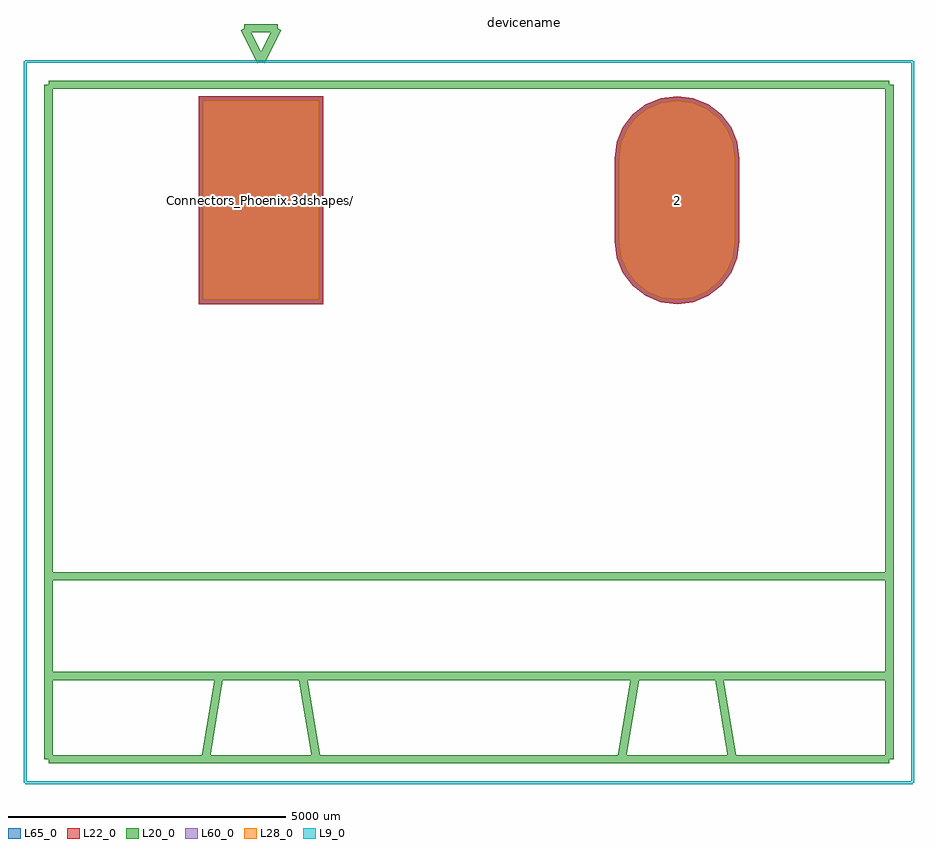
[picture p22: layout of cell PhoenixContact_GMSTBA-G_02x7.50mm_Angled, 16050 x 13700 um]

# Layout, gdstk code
import gdstk
lib = gdstk.Library(unit=1e-6, precision=1e-09)
def R(c, l, rs):  # rectangles x0, y0, x1, y1
    for r in rs: c.add(gdstk.rectangle(r[:2], r[2:], *l))
def P(c, l, *ps):  # polygons
    for p in ps: c.add(gdstk.Polygon(p, *l))
L9_0 = (9, 0)
L20_0 = (20, 0)
L22_0 = (22, 0)
L28_0 = (28, 0)
L60_0 = (60, 0)
L65_0 = (65, 0)

phoenixcontact_gmstba_g_ = lib.new_cell('PhoenixContact_GMSTBA-G_02x7.50mm_Angled')
R(phoenixcontact_gmstba_g_, L22_0, [(-1125,-1875,1125,1875)])
P(phoenixcontact_gmstba_g_, L22_0, [(7500,-1875),(7791.171,-1836.667),(8062.5,-1724.279),(8295.495,-1545.495),(8474.279,-1312.5),(8586.667,-1041.171),(8625,-750),(8625,750),(8586.667,1041.171),(8474.279,1312.5),(8295.495,1545.495),(8062.5,1724.279),(7791.171,1836.667),(7500,1875),(7208.829,1836.667),(6937.5,1724.279),(6704.505,1545.495),(6525.721,1312.5),(6413.333,1041.171),(6375,750),(6375,-750),(6413.333,-1041.171),(6525.721,-1312.5),(6704.505,-1545.495),(6937.5,-1724.279),(7208.829,-1836.667)])
R(phoenixcontact_gmstba_g_, L28_0, [(-1050,-1800,1050,1800)])
P(phoenixcontact_gmstba_g_, L28_0, [(7500,-1800),(7771.76,-1764.222),(8025,-1659.327),(8242.462,-1492.462),(8409.327,-1275),(8514.222,-1021.76),(8550,-750),(8550,750),(8514.222,1021.76),(8409.327,1275),(8242.462,1492.462),(8025,1659.327),(7771.76,1764.222),(7500,1800),(7228.24,1764.222),(6975,1659.327),(6757.538,1492.462),(6590.673,1275),(6485.778,1021.76),(6450,750),(6450,-750),(6485.778,-1021.76),(6590.673,-1275),(6757.538,-1492.462),(6975,-1659.327),(7228.24,-1764.222)])
R(phoenixcontact_gmstba_g_, L60_0, [(-1050,-1800,1050,1800)])
P(phoenixcontact_gmstba_g_, L60_0, [(7500,-1800),(7771.76,-1764.222),(8025,-1659.327),(8242.462,-1492.462),(8409.327,-1275),(8514.222,-1021.76),(8550,-750),(8550,750),(8514.222,1021.76),(8409.327,1275),(8242.462,1492.462),(8025,1659.327),(7771.76,1764.222),(7500,1800),(7228.24,1764.222),(6975,1659.327),(6757.538,1492.462),(6590.673,1275),(6485.778,1021.76),(6450,750),(6450,-750),(6485.778,-1021.76),(6590.673,-1275),(6757.538,-1492.462),(6975,-1659.327),(7228.24,-1764.222)])
R(phoenixcontact_gmstba_g_, L65_0, [(-1125,-1875,1125,1875)])
P(phoenixcontact_gmstba_g_, L65_0, [(7500,-1875),(7791.171,-1836.667),(8062.5,-1724.279),(8295.495,-1545.495),(8474.279,-1312.5),(8586.667,-1041.171),(8625,-750),(8625,750),(8586.667,1041.171),(8474.279,1312.5),(8295.495,1545.495),(8062.5,1724.279),(7791.171,1836.667),(7500,1875),(7208.829,1836.667),(6937.5,1724.279),(6704.505,1545.495),(6525.721,1312.5),(6413.333,1041.171),(6375,750),(6375,-750),(6413.333,-1041.171),(6525.721,-1312.5),(6704.505,-1545.495),(6937.5,-1724.279),(7208.829,-1836.667)])
phoenixcontact_gmstba_g_.add(gdstk.FlexPath([(-300,3100),(0,2500)], 149.998, ends="flush", simple_path=True, layer=20, datatype=0))  # L20_0
phoenixcontact_gmstba_g_.add(gdstk.FlexPath([(300,3100),(-300,3100)], 149.998, ends="flush", simple_path=True, layer=20, datatype=0))  # L20_0
phoenixcontact_gmstba_g_.add(gdstk.FlexPath([(0,2500),(300,3100)], 149.998, ends="flush", simple_path=True, layer=20, datatype=0))  # L20_0
phoenixcontact_gmstba_g_.add(gdstk.FlexPath([(11750,2500),(-4250,2500)], 50, ends="flush", simple_path=True, layer=9, datatype=0))  # L9_0
phoenixcontact_gmstba_g_.add(gdstk.FlexPath([(11750,-10500),(11750,2500)], 50, ends="flush", simple_path=True, layer=9, datatype=0))  # L9_0
phoenixcontact_gmstba_g_.add(gdstk.FlexPath([(-4250,-10500),(11750,-10500)], 50, ends="flush", simple_path=True, layer=9, datatype=0))  # L9_0
phoenixcontact_gmstba_g_.add(gdstk.FlexPath([(-4250,2500),(-4250,-10500)], 50, ends="flush", simple_path=True, layer=9, datatype=0))  # L9_0
phoenixcontact_gmstba_g_.add(gdstk.FlexPath([(6750,-8580),(6500,-10080)], 149.998, ends="flush", simple_path=True, layer=20, datatype=0))  # L20_0
phoenixcontact_gmstba_g_.add(gdstk.FlexPath([(8250,-8580),(6750,-8580)], 149.998, ends="flush", simple_path=True, layer=20, datatype=0))  # L20_0
phoenixcontact_gmstba_g_.add(gdstk.FlexPath([(8500,-10080),(8250,-8580)], 149.998, ends="flush", simple_path=True, layer=20, datatype=0))  # L20_0
phoenixcontact_gmstba_g_.add(gdstk.FlexPath([(6500,-10080),(8500,-10080)], 149.998, ends="flush", simple_path=True, layer=20, datatype=0))  # L20_0
phoenixcontact_gmstba_g_.add(gdstk.FlexPath([(-750,-8580),(-1000,-10080)], 149.998, ends="flush", simple_path=True, layer=20, datatype=0))  # L20_0
phoenixcontact_gmstba_g_.add(gdstk.FlexPath([(750,-8580),(-750,-8580)], 149.998, ends="flush", simple_path=True, layer=20, datatype=0))  # L20_0
phoenixcontact_gmstba_g_.add(gdstk.FlexPath([(1000,-10080),(750,-8580)], 149.998, ends="flush", simple_path=True, layer=20, datatype=0))  # L20_0
phoenixcontact_gmstba_g_.add(gdstk.FlexPath([(-1000,-10080),(1000,-10080)], 149.998, ends="flush", simple_path=True, layer=20, datatype=0))  # L20_0
phoenixcontact_gmstba_g_.add(gdstk.FlexPath([(11330,-8580),(-3830,-8580)], 149.998, ends="flush", simple_path=True, layer=20, datatype=0))  # L20_0
phoenixcontact_gmstba_g_.add(gdstk.FlexPath([(11330,-6780),(11330,-8580)], 149.998, ends="flush", simple_path=True, layer=20, datatype=0))  # L20_0
phoenixcontact_gmstba_g_.add(gdstk.FlexPath([(-3830,-6780),(11330,-6780)], 149.998, ends="flush", simple_path=True, layer=20, datatype=0))  # L20_0
phoenixcontact_gmstba_g_.add(gdstk.FlexPath([(-3830,-8580),(-3830,-6780)], 149.998, ends="flush", simple_path=True, layer=20, datatype=0))  # L20_0
phoenixcontact_gmstba_g_.add(gdstk.FlexPath([(11330,2080),(-3830,2080)], 149.998, ends="flush", simple_path=True, layer=20, datatype=0))  # L20_0
phoenixcontact_gmstba_g_.add(gdstk.FlexPath([(11330,-10080),(11330,2080)], 149.998, ends="flush", simple_path=True, layer=20, datatype=0))  # L20_0
phoenixcontact_gmstba_g_.add(gdstk.FlexPath([(-3830,-10080),(11330,-10080)], 149.998, ends="flush", simple_path=True, layer=20, datatype=0))  # L20_0
phoenixcontact_gmstba_g_.add(gdstk.FlexPath([(-3830,2080),(-3830,-10080)], 149.998, ends="flush", simple_path=True, layer=20, datatype=0))  # L20_0
phoenixcontact_gmstba_g_.add(gdstk.Label('Connectors_Phoenix.3dshapes/PhoenixContact_GMSTBA-G_02x7.50mm_Angled.wrl', (0,0), layer=12, texttype=0))
phoenixcontact_gmstba_g_.add(gdstk.Label('2', (7500,0), layer=28, texttype=0))
phoenixcontact_gmstba_g_.add(gdstk.Label('1', (0,0), layer=28, texttype=0))
phoenixcontact_gmstba_g_.add(gdstk.Label('type', (3750,-11500), layer=9, texttype=0))
phoenixcontact_gmstba_g_.add(gdstk.Label('devicename', (4750,3200), layer=9, texttype=0))

lib.write_gds('PhoenixContact_GMSTBA-G_02x7.50mm_Angled.gds')
